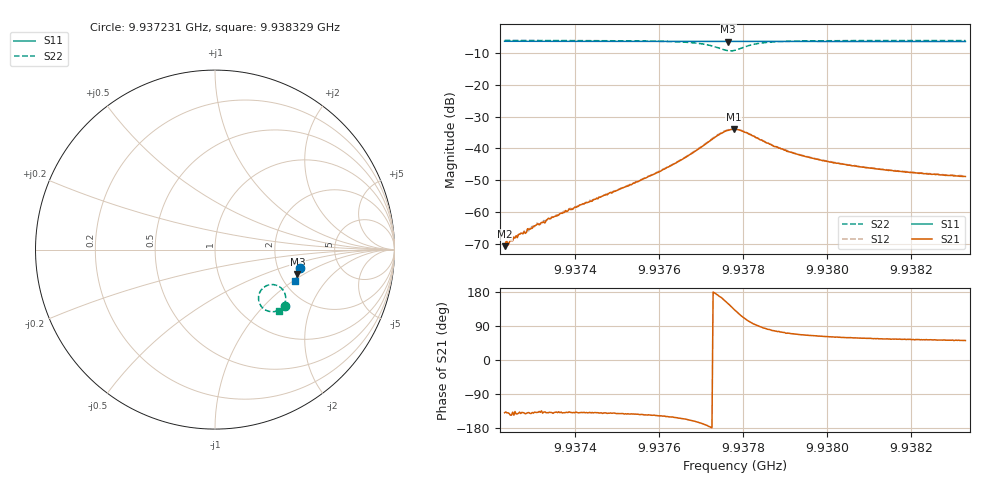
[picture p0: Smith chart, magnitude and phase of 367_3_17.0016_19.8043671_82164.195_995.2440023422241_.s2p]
#  HZ  S  RI  R  50.00
! Rohde & Schwarz Vector Network Analyzer
! Rohde-Schwarz,ZNB20-2Port,1311601062101988,3.16
! Created: UTC 3/20/2024, 11:08:35 PM
! freq[Hz]  re:S11  im:S11  re:S21  im:S21  re:S12  im:S12  re:S22  im:S22
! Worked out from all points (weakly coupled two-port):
!   401 points, 9.937231 GHz to 9.938329 GHz, reference 50 ohm
!   highest |S21| = -34.06 dB at 9.937777 GHz (marker M1); lowest = -70.8 dB at 9.937231 GHz (marker M2)
!   lowest |S11| = -6.4 dB at 9.937764 GHz (marker M3), VSWR 2.84, Z = 124 - j44.2 ohm
!   |S11| at or under -10 dB: nowhere
!   |S22| runs from -9.3 to -6.0 dB; largest |S21 - S12| = 0.00076
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9.9372311e9  0.4726 -0.1038  -0.000217 -0.000188  -0.000237 -0.000187  0.3886 -0.3122
9.9372448e9  0.4723 -0.1046  -0.000292 -0.0002  -0.000269 -0.000213  0.3873 -0.3133
9.9372641e9  0.4719 -0.106  -0.000337 -0.000277  -0.000336 -0.000281  0.3861 -0.3145
9.9372778e9  0.4717 -0.1068  -0.00037 -0.000312  -0.000395 -0.000307  0.385 -0.3154
9.9373025e9  0.4711 -0.1086  -0.000442 -0.000405  -0.000433 -0.000389  0.3833 -0.3171
9.9373848e9  0.4694 -0.1142  -0.000805 -0.000756  -0.000844 -0.000728  0.3765 -0.3234
9.937415e9  0.4688 -0.116  -0.000973 -0.000866  -0.000967 -0.000858  0.3733 -0.3256
9.9375276e9  0.4663 -0.1236  -0.00205 -0.00157  -0.00212 -0.00158  0.3584 -0.3356
9.9375989e9  0.4647 -0.1285  -0.00358 -0.00229  -0.00369 -0.0023  0.342 -0.3426
9.9376593e9  0.463 -0.1324  -0.0064 -0.00291  -0.00651 -0.00285  0.3163 -0.3463
9.937706e9  0.4613 -0.1355  -0.011 -0.00206  -0.0112 -0.00188  0.2789 -0.3351
9.9377417e9  0.4598 -0.1373  -0.016 0.00314  -0.0163 0.00353  0.2446 -0.2887
9.9377636e9  0.4588 -0.1378  -0.0164 0.00991  -0.0165 0.0106  0.2515 -0.2345
9.9377773e9  0.4588 -0.1383  -0.0137 0.0143  -0.0137 0.0147  0.278 -0.2063
9.9377801e9  0.4589 -0.1384  -0.013 0.0149  -0.0129 0.0154  0.2845 -0.2023
9.9378048e9  0.4592 -0.1395  -0.0056 0.0168  -0.00515 0.0173  0.3446 -0.1994
9.9378405e9  0.4591 -0.142  0.000549 0.0135  0.000936 0.0137  0.3856 -0.2359
9.9379036e9  0.458 -0.1467  0.00297 0.00844  0.00328 0.00867  0.3936 -0.281
9.937964e9  0.4566 -0.151  0.00303 0.0063  0.00318 0.00632  0.3883 -0.3018
9.9380436e9  0.4544 -0.1561  0.00285 0.00476  0.00294 0.00474  0.3803 -0.3175
9.9381479e9  0.4517 -0.163  0.00256 0.00371  0.00265 0.00371  0.3714 -0.3299
9.938329e9  0.4466 -0.1745  0.00224 0.00281  0.00231 0.00283  0.3583 -0.3443
